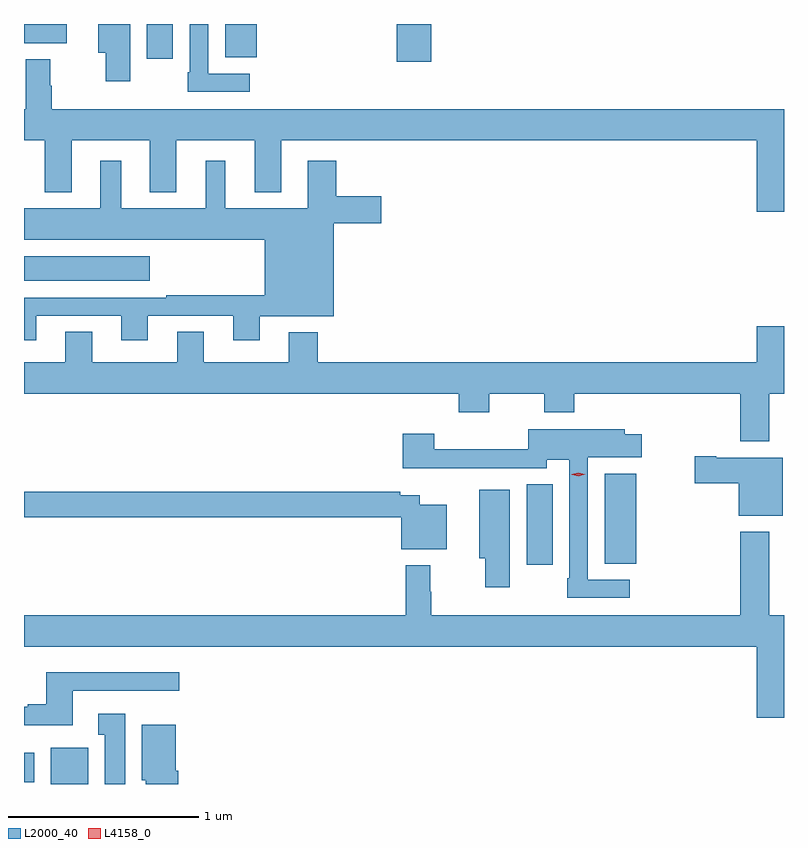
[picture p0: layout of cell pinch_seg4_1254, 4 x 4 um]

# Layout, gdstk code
import gdstk
lib = gdstk.Library(unit=1e-6, precision=1e-09)
def R(c, l, rs):  # rectangles x0, y0, x1, y1
    for r in rs: c.add(gdstk.rectangle(r[:2], r[2:], *l))
def P(c, l, *ps):  # polygons
    for p in ps: c.add(gdstk.Polygon(p, *l))
L2000_40 = (2000, 40)
L4158_0 = (4158, 0)

pinch_seg4_1254 = lib.new_cell('pinch_seg4_1254')
R(pinch_seg4_1254, L2000_40, [(221.231,756.137,221.428,756.328), (221.091,756.145,221.146,756.301), (223.736,757.29,223.873,757.715), (224.147,757.297,224.314,757.771), (221.091,758.786,221.752,758.914), (223.052,759.939,223.235,760.137), (221.738,759.954,221.875,760.137), (222.149,759.961,222.316,760.137), (221.091,760.037,221.317,760.137)])
P(pinch_seg4_1254, L2000_40, [(221.65,760.137),(221.483,760.137),(221.483,759.986),(221.521,759.986),(221.521,759.837),(221.65,759.837)],
  [(222.28,759.876),(222.06,759.876),(222.06,760.137),(221.964,760.137),(221.964,759.883),(221.952,759.883),(221.952,759.78),(222.28,759.78)],
  [(225.091,759.688),(221.237,759.688),(221.237,759.812),(221.23,759.812),(221.23,759.952),(221.101,759.952),(221.101,759.688),(221.091,759.688),(221.091,759.524),(221.201,759.524),(221.201,759.251),(221.341,759.251),(221.341,759.524),(221.753,759.524),(221.753,759.251),(221.893,759.251),(221.893,759.524),(222.305,759.524),(222.305,759.251),(222.445,759.251),(222.445,759.524),(224.948,759.524),(224.948,759.15),(225.091,759.15)],
  [(221.155,758.601),(221.603,758.601),(221.603,758.472),(221.743,758.472),(221.743,758.601),(222.191,758.601),(222.191,758.472),(222.331,758.472),(222.331,758.6),(222.721,758.6),(222.721,759.089),(222.97,759.089),(222.97,759.231),(222.734,759.231),(222.734,759.418),(222.584,759.418),(222.584,759.166),(222.151,759.166),(222.151,759.418),(222.047,759.418),(222.047,759.166),(221.602,759.166),(221.602,759.418),(221.492,759.418),(221.492,759.166),(221.091,759.166),(221.091,759.002),(222.359,759.002),(222.359,758.71),(221.839,758.71),(221.839,758.697),(221.091,758.697),(221.091,758.472),(221.155,758.472)],
  [(222.485,758.515),(222.485,758.356),(222.037,758.356),(222.037,758.516),(221.897,758.516),(221.897,758.356),(221.449,758.356),(221.449,758.516),(221.309,758.516),(221.309,758.356),(221.091,758.356),(221.091,758.192),(223.379,758.192),(223.379,758.093),(223.539,758.093),(223.539,758.192),(223.828,758.192),(223.828,758.093),(223.988,758.093),(223.988,758.192),(224.861,758.192),(224.861,757.94),(225.013,757.94),(225.013,758.192),(225.091,758.192),(225.091,758.545),(224.948,758.545),(224.948,758.356),(222.638,758.356),(222.638,758.515)],
  [(224.278,757.212),(224.058,757.212),(224.058,757.856),(224.341,757.856),(224.341,757.978),(224.253,757.978),(224.253,758.005),(223.746,758.005),(223.746,757.898),(223.25,757.898),(223.25,757.981),(223.085,757.981),(223.085,757.799),(223.333,757.799),(223.333,757.8),(223.842,757.8),(223.842,757.844),(223.962,757.844),(223.962,757.219),(223.95,757.219),(223.95,757.116),(224.278,757.116)],
  [(225.085,757.855),(224.734,757.855),(224.734,757.863),(224.622,757.863),(224.622,757.721),(224.852,757.721),(224.852,757.55),(225.085,757.55)],
  [(223.648,757.687),(223.487,757.687),(223.487,757.325),(223.519,757.325),(223.519,757.173),(223.648,757.173)],
  [(223.315,757.606),(223.173,757.606),(223.173,757.657),(223.07,757.657),(223.07,757.676),(221.091,757.676),(221.091,757.54),(223.077,757.54),(223.077,757.373),(223.315,757.373)],
  [(225.091,757.024),(225.013,757.024),(225.013,757.465),(224.861,757.465),(224.861,757.024),(223.235,757.024),(223.235,757.148),(223.228,757.148),(223.228,757.288),(223.099,757.288),(223.099,757.024),(221.091,757.024),(221.091,756.86),(224.948,756.86),(224.948,756.486),(225.091,756.486)],
  [(221.347,756.627),(221.908,756.627),(221.908,756.724),(221.207,756.724),(221.207,756.556),(221.111,756.556),(221.111,756.543),(221.091,756.543),(221.091,756.446),(221.347,756.446)],
  [(221.623,756.508),(221.483,756.508),(221.483,756.395),(221.516,756.395),(221.516,756.137),(221.623,756.137)],
  [(221.903,756.208),(221.89,756.208),(221.89,756.448),(221.711,756.448),(221.711,756.156),(221.732,756.156),(221.732,756.137),(221.903,756.137)])
P(pinch_seg4_1254, L4158_0, [(224.01,757.756),(223.975,757.765),(223.975,757.766),(223.975,757.766),(224.009,757.776),(224.044,757.767),(224.045,757.767),(224.044,757.767)])

lib.write_gds('pinch_seg4_1254.gds')
